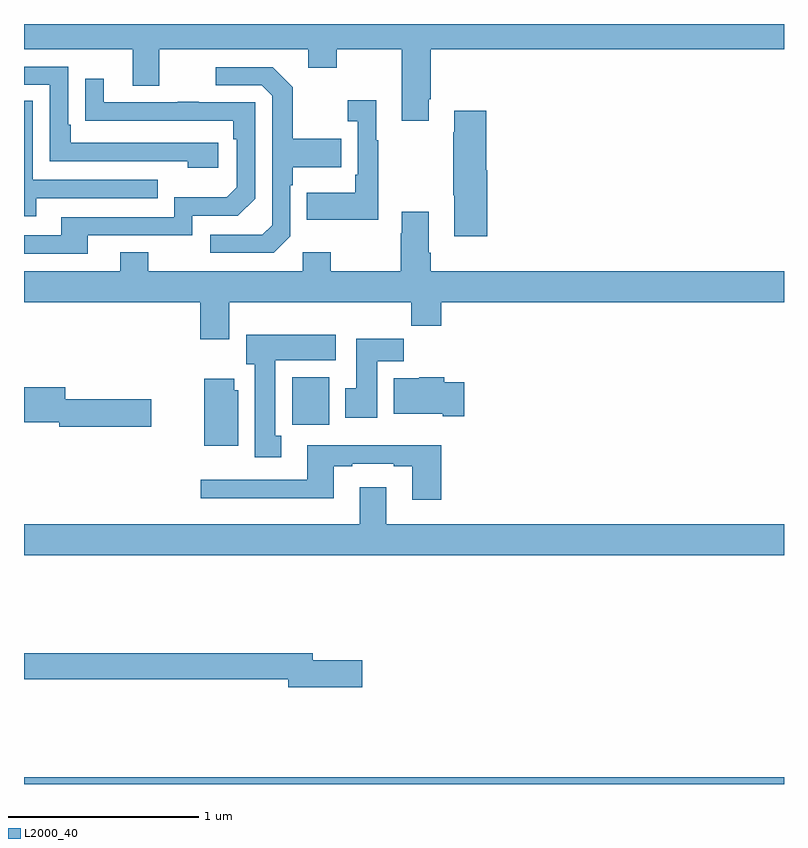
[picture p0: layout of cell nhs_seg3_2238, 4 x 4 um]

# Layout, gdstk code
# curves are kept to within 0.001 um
import gdstk
lib = gdstk.Library(unit=1e-6, precision=1e-09)
def R(c, l, rs):  # rectangles x0, y0, x1, y1
    for r in rs: c.add(gdstk.rectangle(r[:2], r[2:], *l))
def P(c, l, *ps):  # polygons
    for p in ps: c.add(gdstk.Polygon(p, *l))
L2000_40 = (2000, 40)

nhs_seg3_2238 = lib.new_cell('nhs_seg3_2238')
R(nhs_seg3_2238, L2000_40, [(227,678.4,231,678.436), (228.411,680.292,228.607,680.542)])
P(nhs_seg3_2238, L2000_40, [(229.129,682.003),(229.142,682.003),(229.142,682.268),(231,682.268),(231,682.4),(227,682.4),(227,682.268),(227.573,682.268),(227.573,682.074),(227.713,682.074),(227.713,682.268),(228.497,682.268),(228.497,682.169),(228.645,682.169),(228.645,682.268),(228.989,682.268),(228.989,681.891),(229.129,681.891)],
  [(228.022,681.774),(227.245,681.774),(227.245,681.871),(227.232,681.871),(227.232,682.176),(227,682.176),(227,682.08),(227.136,682.08),(227.136,681.678),(227.861,681.678),(227.861,681.644),(228.022,681.644)],
  [(228.402,681.282),(228.402,681.551),(228.415,681.551),(228.415,681.647),(228.671,681.647),(228.671,681.795),(228.415,681.795),(228.415,682.067),(228.309,682.173),(228.009,682.173),(228.009,682.077),(228.252,682.077),(228.306,682.023),(228.306,681.342),(228.255,681.291),(227.979,681.291),(227.979,681.195),(228.315,681.195)],
  [(227.335,681.288),(227.886,681.288),(227.886,681.39),(228.126,681.39),(228.216,681.48),(228.216,681.987),(227.921,681.987),(227.921,681.992),(227.809,681.992),(227.809,681.987),(227.419,681.987),(227.419,682.111),(227.323,682.111),(227.323,681.892),(228.1,681.891),(228.1,681.794),(228.12,681.794),(228.12,681.54),(228.067,681.487),(227.79,681.487),(227.79,681.384),(227.195,681.384),(227.195,681.288),(227,681.288),(227,681.192),(227.335,681.192)],
  [(228.865,681.787),(228.853,681.787),(228.853,682),(228.705,682),(228.705,681.887),(228.756,681.887),(228.756,681.607),(228.744,681.607),(228.744,681.511),(228.487,681.511),(228.487,681.371),(228.865,681.371)],
  [(227.065,681.483),(227.705,681.483),(227.705,681.579),(227.046,681.579),(227.046,681.995),(227,681.995),(227,681.389),(227.065,681.389)],
  [(229.438,681.63),(229.433,681.63),(229.433,681.943),(229.265,681.943),(229.265,681.83),(229.258,681.83),(229.258,681.499),(229.265,681.499),(229.265,681.284),(229.438,681.284)],
  [(229.129,681.196),(229.129,681.412),(228.989,681.412),(228.989,681.299),(228.982,681.299),(228.982,681.1),(228.615,681.1),(228.615,681.199),(228.468,681.199),(228.468,681.1),(227.655,681.1),(227.655,681.199),(227.507,681.199),(227.507,681.1),(227,681.1),(227,680.936),(227.927,680.936),(227.927,680.742),(228.079,680.742),(228.079,680.936),(229.039,680.936),(229.039,680.812),(229.196,680.812),(229.196,680.936),(231,680.936),(231,681.1),(229.142,681.1),(229.142,681.196)],
  [(228.355,680.233),(228.322,680.233),(228.322,680.63),(228.64,680.63),(228.64,680.764),(228.17,680.764),(228.17,680.61),(228.215,680.61),(228.215,680.121),(228.355,680.121)],
  [(228.859,680.624),(228.998,680.624),(228.998,680.743),(228.749,680.743),(228.749,680.484),(228.692,680.484),(228.692,680.328),(228.859,680.328)],
  [(229.318,680.514),(229.211,680.514),(229.211,680.542),(229.08,680.542),(229.08,680.536),(228.947,680.536),(228.947,680.348),(229.205,680.348),(229.205,680.336),(229.318,680.336)],
  [(228.127,680.472),(228.106,680.472),(228.106,680.533),(227.948,680.533),(227.948,680.18),(228.127,680.18)],
  [(227.671,680.426),(227.218,680.426),(227.218,680.488),(227,680.488),(227,680.303),(227.186,680.303),(227.186,680.279),(227.671,680.279)],
  [(229.196,680.182),(228.491,680.182),(228.491,680.001),(227.931,680.001),(227.931,679.904),(228.631,679.904),(228.631,680.073),(228.727,680.073),(228.727,680.085),(228.947,680.085),(228.947,680.073),(229.043,680.073),(229.043,679.896),(229.196,679.896)],
  [(231,679.768),(228.907,679.768),(228.907,679.963),(228.767,679.963),(228.767,679.768),(227,679.768),(227,679.604),(231,679.604)],
  [(228.781,679.052),(228.52,679.052),(228.52,679.088),(227,679.088),(227,678.952),(228.392,678.952),(228.392,678.91),(228.781,678.91)])

lib.write_gds('nhs_seg3_2238.gds')
